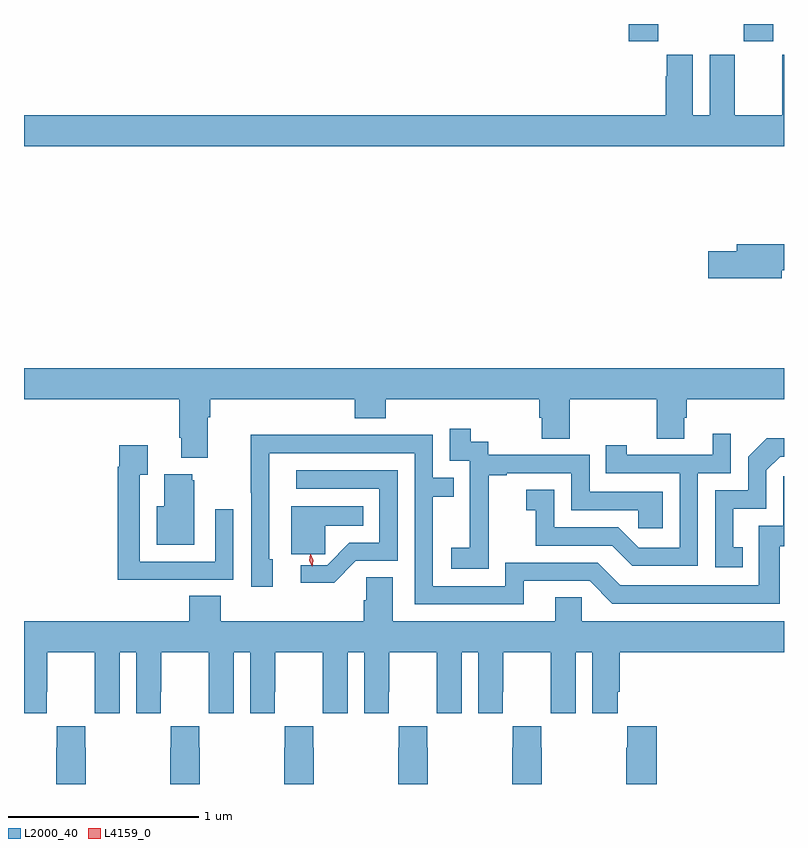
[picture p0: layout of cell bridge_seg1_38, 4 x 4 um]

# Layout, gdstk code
import gdstk
lib = gdstk.Library(unit=1e-6, precision=1e-09)
def R(c, l, rs):  # rectangles x0, y0, x1, y1
    for r in rs: c.add(gdstk.rectangle(r[:2], r[2:], *l))
def P(c, l, *ps):  # polygons
    for p in ps: c.add(gdstk.Polygon(p, *l))
L2000_40 = (2000, 40)
L4159_0 = (4159, 0)

bridge_seg1_38 = lib.new_cell('bridge_seg1_38')
R(bridge_seg1_38, L2000_40, [(891.08,521.649,891.235,521.739), (891.685,521.649,891.84,521.739)])
P(bridge_seg1_38, L2000_40, [(891.897,521.578),(891.887,521.578),(891.887,521.26),(891.637,521.26),(891.637,521.578),(891.506,521.578),(891.506,521.26),(891.418,521.26),(891.418,521.578),(891.281,521.578),(891.281,521.465),(891.275,521.465),(891.275,521.26),(887.897,521.26),(887.897,521.096),(891.897,521.096)],
  [(891.886,520.444),(891.897,520.444),(891.897,520.58),(891.647,520.58),(891.647,520.544),(891.498,520.544),(891.498,520.402),(891.886,520.402)],
  [(888.865,519.668),(888.878,519.668),(888.878,519.764),(889.637,519.764),(889.637,519.665),(889.802,519.665),(889.802,519.764),(890.609,519.764),(890.609,519.666),(890.621,519.666),(890.621,519.556),(890.769,519.556),(890.769,519.764),(891.226,519.764),(891.226,519.556),(891.373,519.556),(891.373,519.666),(891.386,519.666),(891.386,519.764),(891.897,519.764),(891.897,519.928),(887.897,519.928),(887.897,519.764),(888.713,519.764),(888.713,519.562),(888.725,519.562),(888.725,519.455),(888.865,519.455)],
  [(890.343,519.079),(890.342,519.079),(890.342,519.363),(890.437,519.363),(890.437,519.375),(890.778,519.375),(890.778,519.18),(891.129,519.18),(891.129,519.084),(891.259,519.084),(891.259,519.276),(890.874,519.276),(890.874,519.471),(890.34,519.471),(890.34,519.54),(890.248,519.54),(890.248,519.61),(890.139,519.61),(890.139,519.441),(890.244,519.441),(890.244,519.212),(890.243,519.212),(890.243,518.983),(890.145,518.983),(890.145,518.873),(890.343,518.873)],
  [(891.444,519.375),(891.618,519.375),(891.618,519.583),(891.521,519.583),(891.521,519.471),(891.07,519.471),(891.07,519.523),(890.959,519.523),(890.959,519.375),(891.348,519.375),(891.348,518.982),(891.132,518.982),(891.024,519.09),(890.688,519.09),(890.688,519.289),(890.541,519.289),(890.541,519.179),(890.59,519.179),(890.59,518.994),(890.993,518.994),(891.098,518.889),(891.444,518.889)],
  [(890.527,518.808),(890.874,518.808),(890.994,518.688),(891.874,518.688),(891.874,518.991),(891.897,518.991),(891.897,519.358),(891.894,519.358),(891.894,519.099),(891.765,519.099),(891.765,518.784),(891.036,518.784),(890.916,518.904),(890.43,518.904),(890.43,518.781),(890.049,518.781),(890.049,519.25),(890.159,519.25),(890.159,519.351),(890.049,519.351),(890.049,519.576),(889.553,519.576),(889.553,519.578),(889.09,519.578),(889.09,519.271),(889.092,519.271),(889.092,518.778),(889.207,518.778),(889.207,518.922),(889.188,518.922),(889.188,519.48),(889.953,519.48),(889.953,518.685),(890.527,518.685)],
  [(891.68,518.985),(891.631,518.985),(891.631,519.189),(891.804,519.189),(891.804,519.39),(891.876,519.462),(891.897,519.462),(891.897,519.56),(891.806,519.56),(891.708,519.462),(891.708,519.285),(891.534,519.285),(891.534,518.88),(891.68,518.88)],
  [(888.683,518.814),(888.999,518.814),(888.999,519.184),(888.903,519.184),(888.903,518.91),(888.507,518.91),(888.507,519.367),(888.547,519.367),(888.547,519.523),(888.399,519.523),(888.399,519.41),(888.391,519.41),(888.391,518.813),(888.683,518.813)],
  [(889.644,518.913),(889.863,518.913),(889.863,519.39),(889.329,519.39),(889.329,519.294),(889.767,519.294),(889.767,519.009),(889.61,519.009),(889.492,518.891),(889.353,518.891),(889.353,518.798),(889.529,518.798)],
  [(888.793,519.339),(888.782,519.339),(888.782,519.37),(888.635,519.37),(888.635,519.202),(888.596,519.202),(888.596,518.999),(888.793,518.999)],
  [(889.483,519.098),(889.682,519.098),(889.682,519.202),(889.304,519.202),(889.304,518.947),(889.483,518.947)],
  [(888.018,518.224),(888.019,518.224),(888.019,518.432),(888.269,518.432),(888.269,518.224),(888.27,518.224),(888.27,518.112),(888.4,518.112),(888.4,518.432),(888.488,518.432),(888.488,518.112),(888.618,518.112),(888.618,518.224),(888.619,518.224),(888.619,518.432),(888.869,518.432),(888.869,518.224),(888.87,518.224),(888.87,518.112),(889,518.112),(889,518.432),(889.088,518.432),(889.088,518.112),(889.218,518.112),(889.218,518.224),(889.219,518.224),(889.219,518.432),(889.469,518.432),(889.469,518.224),(889.47,518.224),(889.47,518.112),(889.6,518.112),(889.6,518.432),(889.688,518.432),(889.688,518.112),(889.818,518.112),(889.818,518.224),(889.819,518.224),(889.819,518.432),(890.069,518.432),(890.069,518.224),(890.07,518.224),(890.07,518.112),(890.2,518.112),(890.2,518.432),(890.288,518.432),(890.288,518.112),(890.418,518.112),(890.418,518.224),(890.419,518.224),(890.419,518.432),(890.669,518.432),(890.669,518.224),(890.67,518.224),(890.67,518.112),(890.8,518.112),(890.8,518.432),(890.888,518.432),(890.888,518.112),(891.022,518.112),(891.022,518.224),(891.032,518.224),(891.032,518.432),(891.897,518.432),(891.897,518.596),(890.832,518.596),(890.832,518.723),(890.693,518.723),(890.693,518.596),(889.837,518.596),(889.837,518.828),(889.698,518.828),(889.698,518.705),(889.685,518.705),(889.685,518.596),(888.932,518.596),(888.932,518.729),(888.767,518.729),(888.767,518.596),(887.897,518.596),(887.897,518.112),(888.018,518.112)],
  [(890.022,517.931),(890.019,517.931),(890.019,518.044),(889.869,518.044),(889.869,517.931),(889.867,517.931),(889.867,517.739),(890.022,517.739)],
  [(888.822,517.931),(888.819,517.931),(888.819,518.044),(888.669,518.044),(888.669,517.931),(888.667,517.931),(888.667,517.739),(888.822,517.739)],
  [(888.222,517.931),(888.219,517.931),(888.219,518.044),(888.069,518.044),(888.069,517.931),(888.067,517.931),(888.067,517.739),(888.222,517.739)],
  [(889.422,517.931),(889.419,517.931),(889.419,518.044),(889.269,518.044),(889.269,517.931),(889.267,517.931),(889.267,517.739),(889.422,517.739)],
  [(891.227,518.044),(891.073,518.044),(891.073,517.931),(891.067,517.931),(891.067,517.739),(891.227,517.739)],
  [(890.622,517.931),(890.619,517.931),(890.619,518.044),(890.469,518.044),(890.469,517.931),(890.467,517.931),(890.467,517.739),(890.622,517.739)])
P(bridge_seg1_38, L4159_0, [(889.414,518.883),(889.414,518.883),(889.399,518.915),(889.404,518.949),(889.405,518.949),(889.405,518.949),(889.419,518.917),(889.414,518.883)])

lib.write_gds('bridge_seg1_38.gds')
